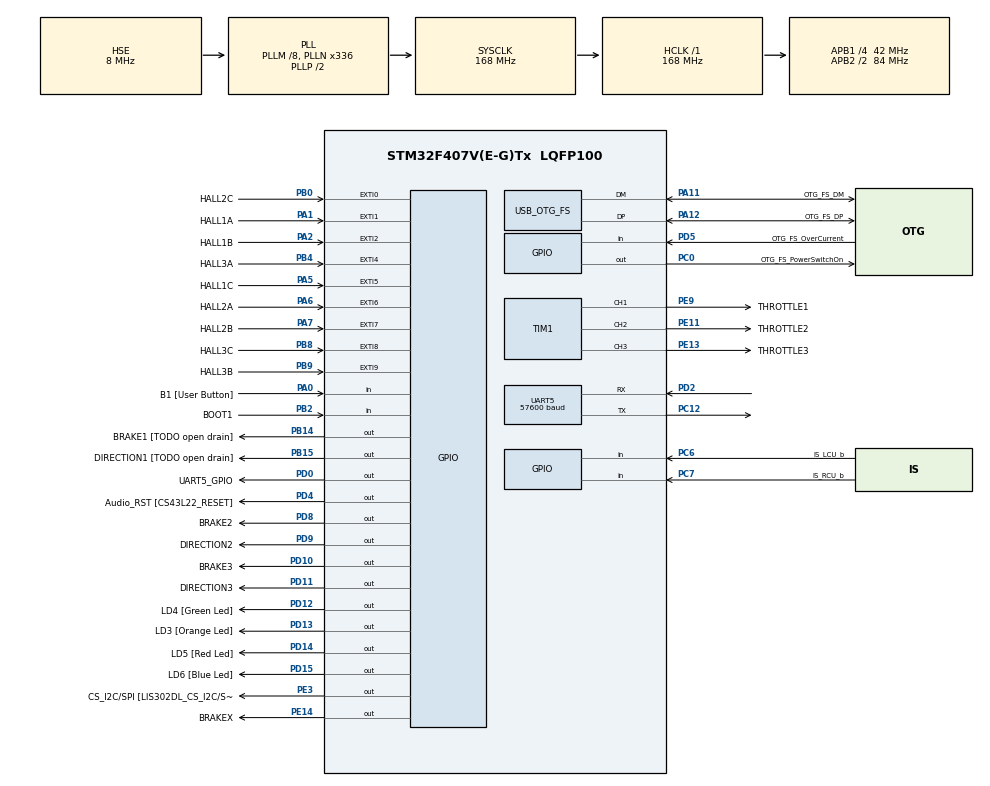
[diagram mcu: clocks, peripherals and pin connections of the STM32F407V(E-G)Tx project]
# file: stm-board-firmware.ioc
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Mcu.Family=STM32F4
Mcu.Name=STM32F407V(E-G)Tx
Mcu.Package=LQFP100
Mcu.UserConstants=THROTTLE_STEPS_FULL_RANGE,(3300*THROTTLE_STEPS/(THROTTLE_MAX_mV-THROTTLE_MIN_mV));THROTTLE_STEPS,1024;THROTTLE_OFF_mV,1000;THROTTLE_MIN_mV,1600;THROTTLE_MAX_mV,3300
NVIC.EXTI1_IRQn=true\:0\:0\:true\:false\:true
NVIC.EXTI2_IRQn=true\:0\:0\:false\:false\:true
NVIC.EXTI9_5_IRQn=true\:0\:0\:false\:false\:true
NVIC.OTG_FS_IRQn=true\:0\:0\:false\:false\:true
NVIC.PriorityGroup=NVIC_PRIORITYGROUP_0
NVIC.UART5_IRQn=true\:0\:0\:false\:false\:true
PA0-WKUP.GPIO_Label=B1 [User Button]
PA0-WKUP.Signal=GPIO_Input
PA1.GPIO_Label=HALL1A
PA1.GPIO_ModeDefaultEXTI=GPIO_MODE_IT_RISING_FALLING
PA1.GPIO_PuPd=GPIO_PULLUP
PA1.Signal=GPXTI1
PA10.GPIO_Label=OTG_FS_ID
PA10.GPIO_Mode=GPIO_MODE_AF_PP
PA10.GPIO_PuPd=GPIO_NOPULL
PA10.GPIO_Speed=GPIO_SPEED_FREQ_LOW
PA10.Signal=USB_OTG_FS_ID
PA11.GPIO_Label=OTG_FS_DM
PA11.GPIO_Mode=GPIO_MODE_AF_PP
PA11.GPIO_PuPd=GPIO_NOPULL
PA11.GPIO_Speed=GPIO_SPEED_FREQ_LOW
PA11.Mode=Device_Only
PA11.Signal=USB_OTG_FS_DM
PA12.GPIO_Label=OTG_FS_DP
PA12.GPIO_Mode=GPIO_MODE_AF_PP
PA12.GPIO_PuPd=GPIO_NOPULL
PA12.GPIO_Speed=GPIO_SPEED_FREQ_LOW
PA12.Mode=Device_Only
PA12.Signal=USB_OTG_FS_DP
PA13.GPIO_Label=SWDIO
PA13.Mode=Serial_Wire
PA13.Signal=SYS_JTMS-SWDIO
PA14.GPIO_Label=SWCLK
PA14.Mode=Serial_Wire
PA14.Signal=SYS_JTCK-SWCLK
PA2.GPIO_Label=HALL1B
PA2.GPIO_ModeDefaultEXTI=GPIO_MODE_IT_RISING_FALLING
PA2.GPIO_PuPd=GPIO_PULLUP
PA2.Signal=GPXTI2
PA5.GPIO_Label=HALL1C
PA5.GPIO_ModeDefaultEXTI=GPIO_MODE_IT_RISING_FALLING
PA5.GPIO_PuPd=GPIO_PULLUP
PA5.Signal=GPXTI5
PA6.GPIO_Label=HALL2A
PA6.GPIO_ModeDefaultEXTI=GPIO_MODE_IT_RISING_FALLING
PA6.GPIO_PuPd=GPIO_PULLUP
PA6.Signal=GPXTI6
PA7.GPIO_Label=HALL2B
PA7.GPIO_ModeDefaultEXTI=GPIO_MODE_IT_RISING_FALLING
PA7.GPIO_PuPd=GPIO_PULLUP
PA7.Signal=GPXTI7
PA9.GPIO_Label=VBUS_FS
PA9.GPIO_Mode=GPIO_MODE_INPUT
PA9.GPIO_PuPd=GPIO_NOPULL
PA9.Signal=USB_OTG_FS_VBUS
PB0.GPIO_Label=HALL2C
PB0.GPIO_ModeDefaultEXTI=GPIO_MODE_IT_RISING_FALLING
PB0.GPIO_PuPd=GPIO_PULLUP
PB0.Signal=GPXTI0
PB10.GPIO_Label=CLK_IN [MP45DT02_CLK]
PB10.GPIO_Mode=GPIO_MODE_AF_PP
PB10.GPIO_PuPd=GPIO_NOPULL
PB10.GPIO_Speed=GPIO_SPEED_FREQ_LOW
PB10.Signal=I2S2_CK
PB14.GPIO_Label=BRAKE1 [TODO open drain]
PB14.GPIO_ModeDefaultOutputPP=GPIO_MODE_OUTPUT_PP
PB14.GPIO_PuPd=GPIO_PULLUP
PB14.PinState=GPIO_PIN_SET
PB14.Signal=GPIO_Output
PB15.GPIO_Label=DIRECTION1 [TODO open drain]
PB15.GPIO_ModeDefaultOutputPP=GPIO_MODE_OUTPUT_PP
PB15.GPIO_PuPd=GPIO_PULLUP
PB15.PinState=GPIO_PIN_SET
PB15.Signal=GPIO_Output
PB2.GPIO_Label=BOOT1
PB2.GPIO_Mode=GPIO_MODE_INPUT
PB2.GPIO_PuPd=GPIO_NOPULL
PB2.Signal=GPIO_Input
PB3.GPIO_Label=SWO
PB3.Signal=SYS_JTDO-SWO
PB4.GPIO_Label=HALL3A
PB4.GPIO_ModeDefaultEXTI=GPIO_MODE_IT_RISING_FALLING
PB4.GPIO_PuPd=GPIO_PULLUP
PB4.Signal=GPXTI4
PB8.GPIO_Label=HALL3C
PB8.GPIO_ModeDefaultEXTI=GPIO_MODE_IT_RISING_FALLING
PB8.GPIO_PuPd=GPIO_PULLUP
PB8.Signal=GPXTI8
PB9.GPIO_Label=HALL3B
PB9.GPIO_ModeDefaultEXTI=GPIO_MODE_IT_RISING_FALLING
PB9.GPIO_PuPd=GPIO_PULLUP
PB9.Signal=GPXTI9
PC0.GPIO_Label=OTG_FS_PowerSwitchOn
PC0.GPIO_PuPd=GPIO_NOPULL
PC0.GPIO_Speed=GPIO_SPEED_FREQ_LOW
PC0.PinState=GPIO_PIN_SET
PC0.Signal=GPIO_Output
PC12.Mode=Asynchronous
PC12.Signal=UART5_TX
PC14-OSC32_IN.GPIO_Label=PC14-OSC32_IN
PC14-OSC32_IN.Mode=LSE-External-Oscillator
PC14-OSC32_IN.Signal=RCC_OSC32_IN
PC15-OSC32_OUT.GPIO_Label=PC15-OSC32_OUT
PC15-OSC32_OUT.Mode=LSE-External-Oscillator
PC15-OSC32_OUT.Signal=RCC_OSC32_OUT
PC3.GPIO_Label=PDM_OUT [MP45DT02_DOUT]
PC3.GPIO_Mode=GPIO_MODE_AF_PP
PC3.GPIO_PuPd=GPIO_NOPULL
PC3.GPIO_Speed=GPIO_SPEED_FREQ_LOW
PC3.Signal=I2S2_SD
PC6.GPIO_Label=IS_LCU_b
PC6.GPIO_PuPd=GPIO_PULLUP
PC6.Signal=GPIO_Input
PC7.GPIO_Label=IS_RCU_b
PC7.GPIO_PuPd=GPIO_PULLUP
PC7.Signal=GPIO_Input
PD0.GPIO_Label=UART5_GPIO
PD0.GPIO_PuPd=GPIO_PULLDOWN
PD0.GPIO_Speed=GPIO_SPEED_FREQ_VERY_HIGH
PD0.Signal=GPIO_Output
PD10.GPIO_Label=BRAKE3
PD10.GPIO_PuPd=GPIO_PULLUP
PD10.PinState=GPIO_PIN_SET
PD10.Signal=GPIO_Output
PD11.GPIO_Label=DIRECTION3
PD11.GPIO_PuPd=GPIO_PULLUP
PD11.PinState=GPIO_PIN_SET
PD11.Signal=GPIO_Output
PD12.GPIO_Label=LD4 [Green Led]
PD12.GPIO_PuPd=GPIO_NOPULL
PD12.GPIO_Speed=GPIO_SPEED_FREQ_LOW
PD12.Signal=GPIO_Output
PD13.GPIO_Label=LD3 [Orange Led]
PD13.GPIO_PuPd=GPIO_NOPULL
PD13.GPIO_Speed=GPIO_SPEED_FREQ_LOW
PD13.Signal=GPIO_Output
PD14.GPIO_Label=LD5 [Red Led]
PD14.GPIO_PuPd=GPIO_NOPULL
PD14.GPIO_Speed=GPIO_SPEED_FREQ_LOW
PD14.Signal=GPIO_Output
PD15.GPIO_Label=LD6 [Blue Led]
PD15.GPIO_PuPd=GPIO_NOPULL
PD15.GPIO_Speed=GPIO_SPEED_FREQ_LOW
PD15.Signal=GPIO_Output
PD2.Mode=Asynchronous
PD2.Signal=UART5_RX
PD4.GPIO_Label=Audio_RST [CS43L22_RESET]
PD4.GPIO_PuPd=GPIO_PULLDOWN
PD4.GPIO_Speed=GPIO_SPEED_FREQ_LOW
PD4.Signal=GPIO_Output
PD5.GPIO_Label=OTG_FS_OverCurrent
PD5.GPIO_Mode=GPIO_MODE_INPUT
PD5.GPIO_PuPd=GPIO_NOPULL
PD5.Signal=GPIO_Input
PD8.GPIO_Label=BRAKE2
PD8.GPIO_PuPd=GPIO_PULLUP
PD8.PinState=GPIO_PIN_SET
PD8.Signal=GPIO_Output
PD9.GPIO_Label=DIRECTION2
PD9.GPIO_PuPd=GPIO_PULLUP
PD9.PinState=GPIO_PIN_SET
PD9.Signal=GPIO_Output
PE11.GPIO_Label=THROTTLE2
PE11.Signal=S_TIM1_CH2
PE13.GPIO_Label=THROTTLE3
PE13.Signal=S_TIM1_CH3
PE14.GPIO_Label=BRAKEX
PE14.GPIO_PuPd=GPIO_PULLUP
PE14.PinState=GPIO_PIN_SET
PE14.Signal=GPIO_Output
PE3.GPIO_Label=CS_I2C/SPI [LIS302DL_CS_I2C/SPI]
PE3.GPIO_PuPd=GPIO_PULLDOWN
PE3.GPIO_Speed=GPIO_SPEED_FREQ_LOW
PE3.PinState=GPIO_PIN_SET
PE3.Signal=GPIO_Output
PE9.GPIO_Label=THROTTLE1
PE9.Signal=S_TIM1_CH1
PH0-OSC_IN.GPIO_Label=PH0-OSC_IN
PH0-OSC_IN.Mode=HSE-External-Oscillator
PH0-OSC_IN.Signal=RCC_OSC_IN
PH1-OSC_OUT.GPIO_Label=PH1-OSC_OUT
PH1-OSC_OUT.Mode=HSE-External-Oscillator
PH1-OSC_OUT.Signal=RCC_OSC_OUT
ProjectManager.HeapSize=0x200
ProjectManager.StackSize=0x400
ProjectManager.TargetToolchain=SW4STM32
RCC.48MHZClocksFreq_Value=48000000
RCC.AHBFreq_Value=168000000
RCC.APB1CLKDivider=RCC_HCLK_DIV4
RCC.APB1Freq_Value=42000000
RCC.APB1TimFreq_Value=84000000
RCC.APB2CLKDivider=RCC_HCLK_DIV2
RCC.APB2Freq_Value=84000000
RCC.APB2TimFreq_Value=168000000
RCC.ClockTypeHCLK=RCC_CLOCKTYPE_HCLK
RCC.ClockTypePCLK1=RCC_CLOCKTYPE_PCLK1
RCC.ClockTypePCLK2=RCC_CLOCKTYPE_PCLK2
RCC.ClockTypeSysClk=RCC_CLOCKTYPE_SYSCLK
RCC.CortexFreq_Value=168000000
RCC.EnableExtClockForI2S=false
RCC.EnableHSE=true
RCC.EnableHSERTCDevisor=false
RCC.EnableLSE=true
RCC.EnableLSERTC=false
RCC.ExtClockEnable=false
RCC.HCLKFreq_Value=168000000
RCC.HSEState=RCC_HSE_ON
RCC.HSE_VALUE=8000000
RCC.HSIState=RCC_HSI_OFF
RCC.HSI_VALUE=16000000
RCC.I2SEnable=false
RCC.IWDGEnable=false
RCC.LSEState=RCC_LSE_ON
RCC.LSIState=RCC_LSI_OFF
RCC.MCO1OutPutEnable=false
RCC.MCO2OutPutEnable=false
RCC.OscillatorTypeHSE=RCC_OSCILLATORTYPE_HSE
RCC.PLLM=8
RCC.PLLN=336
RCC.PLLQ=7
RCC.PLLSource=RCC_PLLSOURCE_HSE
RCC.PLLSourceVirtual=RCC_PLLSOURCE_HSE
RCC.PLLState=RCC_PLL_ON
RCC.RCC_PERIPHCLK_I2SVar=RCC_PERIPHCLK_I2S
RCC.RNGEnable=false
RCC.RTCEnable=false
RCC.SDIOEnable=false
RCC.SYSCLKFreq_VALUE=168000000
RCC.SYSCLKSource=RCC_SYSCLKSOURCE_PLLCLK
RCC.USBFSEnable=true
RCC.USBHSEnable=false
RCC.VCOOutputFreq_Value=336000000
SH.S_TIM1_CH1.0=TIM1_CH1,PWM Generation1 CH1
SH.S_TIM1_CH2.0=TIM1_CH2,PWM Generation2 CH2
SH.S_TIM1_CH3.0=TIM1_CH3,PWM Generation3 CH3
TIM1.Channel-PWM\ Generation1\ CH1=TIM_CHANNEL_1
TIM1.Channel-PWM\ Generation2\ CH2=TIM_CHANNEL_2
TIM1.Channel-PWM\ Generation3\ CH3=TIM_CHANNEL_3
TIM1.OCNIdleState_1=TIM_OCNIDLESTATE_RESET
TIM1.OCNIdleState_2=TIM_OCNIDLESTATE_RESET
TIM1.OCNIdleState_3=TIM_OCNIDLESTATE_RESET
TIM1.OCNPolarity_1=TIM_OCNPOLARITY_HIGH
TIM1.OCNPolarity_2=TIM_OCNPOLARITY_HIGH
TIM1.OCNPolarity_3=TIM_OCNPOLARITY_HIGH
TIM1.Period=THROTTLE_STEPS_FULL_RANGE-1
UART5.BaudRate=57600
UART5.VirtualMode=Asynchronous
USB_DEVICE.CLASS_NAME_FS=CDC
USB_DEVICE.USBD_HandleTypeDef_FS=hUsbDevice_OTG_FS
USB_DEVICE.USBD_MAX_STR_DESC_SIZ-CDC_FS=256
USB_DEVICE.VirtualModeFS=Cdc_FS
USB_OTG_FS.VirtualMode=Device_Only
USB_OTG_FS.phy_itface=PCD_PHY_EMBEDDED
VP_TIM1_VS_ClockSourceINT.Mode=Internal
VP_USB_DEVICE_VS_USB_DEVICE_CDC_FS.Mode=CDC_FS
board=STM32F4DISCOVERY

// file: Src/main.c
/**
  ******************************************************************************
  * File Name          : main.c
  * Description        : Main program body
  ******************************************************************************
  *
  * Copyright (c) 2017 STMicroelectronics International N.V.
  * All rights reserved.
  *
  * Redistribution and use in source and binary forms, with or without
  * modification, are permitted, provided that the following conditions are met:
  *
  * 1. Redistribution of source code must retain the above copyright notice,
  *    this list of conditions and the following disclaimer.
  * 2. Redistributions in binary form must reproduce the above copyright notice,
  *    this list of conditions and the following disclaimer in the documentation
  *    and/or other materials provided with the distribution.
  * 3. Neither the name of STMicroelectronics nor the names of other
  *    contributors to this software may be used to endorse or promote products
  *    derived from this software without specific written permission.
  * 4. This software, including modifications and/or derivative works of this
  *    software, must execute solely and exclusively on microcontroller or
  *    microprocessor devices manufactured by or for STMicroelectronics.
  * 5. Redistribution and use of this software other than as permitted under
  *    this license is void and will automatically terminate your rights under
  *    this license.
  *
  * THIS SOFTWARE IS PROVIDED BY STMICROELECTRONICS AND CONTRIBUTORS "AS IS"
  * AND ANY EXPRESS, IMPLIED OR STATUTORY WARRANTIES, INCLUDING, BUT NOT
  * LIMITED TO, THE IMPLIED WARRANTIES OF MERCHANTABILITY, FITNESS FOR A
  * PARTICULAR PURPOSE AND NON-INFRINGEMENT OF THIRD PARTY INTELLECTUAL PROPERTY
  * RIGHTS ARE DISCLAIMED TO THE FULLEST EXTENT PERMITTED BY LAW. IN NO EVENT
  * SHALL STMICROELECTRONICS OR CONTRIBUTORS BE LIABLE FOR ANY DIRECT, INDIRECT,
  * INCIDENTAL, SPECIAL, EXEMPLARY, OR CONSEQUENTIAL DAMAGES (INCLUDING, BUT NOT
  * LIMITED TO, PROCUREMENT OF SUBSTITUTE GOODS OR SERVICES; LOSS OF USE, DATA,
  * OR PROFITS; OR BUSINESS INTERRUPTION) HOWEVER CAUSED AND ON ANY THEORY OF
  * LIABILITY, WHETHER IN CONTRACT, STRICT LIABILITY, OR TORT (INCLUDING
  * NEGLIGENCE OR OTHERWISE) ARISING IN ANY WAY OUT OF THE USE OF THIS SOFTWARE,
  * EVEN IF ADVISED OF THE POSSIBILITY OF SUCH DAMAGE.
  *
  ******************************************************************************
  */
#include "main.h"
#include "stm32f4xx_hal.h"
#include "usb_device.h"

/* USER CODE BEGIN Includes */
#include "events.h"
#include "usbd_cdc_if.h"

/* USER CODE END Includes */

TIM_HandleTypeDef htim1;

UART_HandleTypeDef huart5;

/* USER CODE BEGIN PV */
/* Private variables ---------------------------------------------------------*/

/* USER CODE END PV */

void SystemClock_Config(void);
void Error_Handler(void);
static void MX_GPIO_Init(void);
static void MX_TIM1_Init(void);
static void MX_UART5_Init(void);
void HAL_TIM_MspPostInit(TIM_HandleTypeDef *htim);

/* USER CODE BEGIN PFP */
/* Private function prototypes -----------------------------------------------*/

/* USER CODE END PFP */

int main(void)
{

  /* MCU Configuration----------------------------------------------------------*/

  /* Reset of all peripherals, Initializes the Flash interface and the Systick. */
  HAL_Init();

  /* Configure the system clock */
  SystemClock_Config();

  /* Initialize all configured peripherals */
  MX_GPIO_Init();
  MX_TIM1_Init();
  MX_UART5_Init();
  MX_USB_DEVICE_Init();

  /* USER CODE BEGIN 2 */
  HAL_GPIO_WritePin(LD4_GPIO_Port, LD4_Pin, GPIO_PIN_SET); // Green on -> init complete
  OnStartup();
  HAL_Delay(1000);

  // Motor configuration based on whether we're LCU or RCU
  static struct CommandHandlerConfiguration rcu_config = {{{1, +0.4, -0.33}, {0, +0.4, 0.0}, {0, +0.4, +0.33}}};
  static struct CommandHandlerConfiguration lcu_config = {{{1, -0.4, -0.33}, {1, -0.4, 0.0}, {0, -0.4, +0.33}}};
  int is_rcu = HAL_GPIO_ReadPin(IS_RCU_b_GPIO_Port, IS_RCU_b_Pin) == GPIO_PIN_RESET;
  int is_lcu = HAL_GPIO_ReadPin(IS_LCU_b_GPIO_Port, IS_LCU_b_Pin) == GPIO_PIN_RESET;
  if (is_rcu == is_lcu) {
	  HAL_GPIO_WritePin(LD4_GPIO_Port, LD4_Pin, GPIO_PIN_RESET); // Green off -> VCU id failed
	  for(;;);
  }
  OnInitialization(is_rcu ? &rcu_config : &lcu_config);
  uint16_t flash_code = is_rcu ? 0x00FF : 0x033F;

  /* USER CODE END 2 */

  /* Infinite loop */
  while (1)
  {

  /* USER CODE BEGIN 3 */

	  // Execute this loop at ~30 Hz
	  uint32_t delay_ms = 33;
	  uint32_t tickstart = HAL_GetTick();

	  // Indicate if USB up -- orange == usb connected, and not transmitting
	  extern volatile int cdc_usb_initialized;
	  HAL_GPIO_WritePin(LD3_GPIO_Port, LD3_Pin, cdc_usb_initialized ? GPIO_PIN_SET : GPIO_PIN_RESET);

	  // Process pending command, if any
	  OnMainLoop();

	  // Flash the green LED at ~3 Hz; green LED flashing == main is running
	  HAL_GPIO_WritePin(LD4_GPIO_Port, LD4_Pin, flash_code & 1 ? GPIO_PIN_SET : GPIO_PIN_RESET);
	  flash_code = (flash_code << 1) | (flash_code >> (8 * sizeof(flash_code) - 1));

	  // Execute this loop at ~30 Hz
	  while (HAL_GetTick() - tickstart < delay_ms) {}
  }
  /* USER CODE END 3 */

}

/** System Clock Configuration
*/
void SystemClock_Config(void)
{

  RCC_OscInitTypeDef RCC_OscInitStruct;
  RCC_ClkInitTypeDef RCC_ClkInitStruct;

    /**Configure the main internal regulator output voltage
    */
  __HAL_RCC_PWR_CLK_ENABLE();

  __HAL_PWR_VOLTAGESCALING_CONFIG(PWR_REGULATOR_VOLTAGE_SCALE1);

    /**Initializes the CPU, AHB and APB busses clocks
    */
  RCC_OscInitStruct.OscillatorType = RCC_OSCILLATORTYPE_HSE;
  RCC_OscInitStruct.HSEState = RCC_HSE_ON;
  RCC_OscInitStruct.PLL.PLLState = RCC_PLL_ON;
  RCC_OscInitStruct.PLL.PLLSource = RCC_PLLSOURCE_HSE;
  RCC_OscInitStruct.PLL.PLLM = 8;
  RCC_OscInitStruct.PLL.PLLN = 336;
  RCC_OscInitStruct.PLL.PLLP = RCC_PLLP_DIV2;
  RCC_OscInitStruct.PLL.PLLQ = 7;
  if (HAL_RCC_OscConfig(&RCC_OscInitStruct) != HAL_OK)
  {
    Error_Handler();
  }

    /**Initializes the CPU, AHB and APB busses clocks
    */
  RCC_ClkInitStruct.ClockType = RCC_CLOCKTYPE_HCLK|RCC_CLOCKTYPE_SYSCLK
                              |RCC_CLOCKTYPE_PCLK1|RCC_CLOCKTYPE_PCLK2;
  RCC_ClkInitStruct.SYSCLKSource = RCC_SYSCLKSOURCE_PLLCLK;
  RCC_ClkInitStruct.AHBCLKDivider = RCC_SYSCLK_DIV1;
  RCC_ClkInitStruct.APB1CLKDivider = RCC_HCLK_DIV4;
  RCC_ClkInitStruct.APB2CLKDivider = RCC_HCLK_DIV2;

  if (HAL_RCC_ClockConfig(&RCC_ClkInitStruct, FLASH_LATENCY_5) != HAL_OK)
  {
    Error_Handler();
  }

    /**Configure the Systick interrupt time
    */
  HAL_SYSTICK_Config(HAL_RCC_GetHCLKFreq()/1000);

    /**Configure the Systick
    */
  HAL_SYSTICK_CLKSourceConfig(SYSTICK_CLKSOURCE_HCLK);

  /* SysTick_IRQn interrupt configuration */
  HAL_NVIC_SetPriority(SysTick_IRQn, 0, 0);
}

/* TIM1 init function */
static void MX_TIM1_Init(void)
{

  TIM_ClockConfigTypeDef sClockSourceConfig;
  TIM_MasterConfigTypeDef sMasterConfig;
  TIM_OC_InitTypeDef sConfigOC;
  TIM_BreakDeadTimeConfigTypeDef sBreakDeadTimeConfig;

  htim1.Instance = TIM1;
  htim1.Init.Prescaler = 0;
  htim1.Init.CounterMode = TIM_COUNTERMODE_UP;
  htim1.Init.Period = THROTTLE_STEPS_FULL_RANGE-1;
  htim1.Init.ClockDivision = TIM_CLOCKDIVISION_DIV1;
  htim1.Init.RepetitionCounter = 0;
  if (HAL_TIM_Base_Init(&htim1) != HAL_OK)
  {
    Error_Handler();
  }

  sClockSourceConfig.ClockSource = TIM_CLOCKSOURCE_INTERNAL;
  if (HAL_TIM_ConfigClockSource(&htim1, &sClockSourceConfig) != HAL_OK)
  {
    Error_Handler();
  }

  if (HAL_TIM_PWM_Init(&htim1) != HAL_OK)
  {
    Error_Handler();
  }

  sMasterConfig.MasterOutputTrigger = TIM_TRGO_RESET;
  sMasterConfig.MasterSlaveMode = TIM_MASTERSLAVEMODE_DISABLE;
  if (HAL_TIMEx_MasterConfigSynchronization(&htim1, &sMasterConfig) != HAL_OK)
  {
    Error_Handler();
  }

  sConfigOC.OCMode = TIM_OCMODE_PWM1;
  sConfigOC.Pulse = 0;
  sConfigOC.OCPolarity = TIM_OCPOLARITY_HIGH;
  sConfigOC.OCNPolarity = TIM_OCNPOLARITY_HIGH;
  sConfigOC.OCFastMode = TIM_OCFAST_DISABLE;
  sConfigOC.OCIdleState = TIM_OCIDLESTATE_RESET;
  sConfigOC.OCNIdleState = TIM_OCNIDLESTATE_RESET;
  if (HAL_TIM_PWM_ConfigChannel(&htim1, &sConfigOC, TIM_CHANNEL_1) != HAL_OK)
  {
    Error_Handler();
  }

  if (HAL_TIM_PWM_ConfigChannel(&htim1, &sConfigOC, TIM_CHANNEL_2) != HAL_OK)
  {
    Error_Handler();
  }

  if (HAL_TIM_PWM_ConfigChannel(&htim1, &sConfigOC, TIM_CHANNEL_3) != HAL_OK)
  {
    Error_Handler();
  }

  sBreakDeadTimeConfig.OffStateRunMode = TIM_OSSR_DISABLE;
  sBreakDeadTimeConfig.OffStateIDLEMode = TIM_OSSI_DISABLE;
  sBreakDeadTimeConfig.LockLevel = TIM_LOCKLEVEL_OFF;
  sBreakDeadTimeConfig.DeadTime = 0;
  sBreakDeadTimeConfig.BreakState = TIM_BREAK_DISABLE;
  sBreakDeadTimeConfig.BreakPolarity = TIM_BREAKPOLARITY_HIGH;
  sBreakDeadTimeConfig.AutomaticOutput = TIM_AUTOMATICOUTPUT_DISABLE;
  if (HAL_TIMEx_ConfigBreakDeadTime(&htim1, &sBreakDeadTimeConfig) != HAL_OK)
  {
    Error_Handler();
  }

  HAL_TIM_MspPostInit(&htim1);

}

/* UART5 init function */
static void MX_UART5_Init(void)
{

  huart5.Instance = UART5;
  huart5.Init.BaudRate = 57600;
  huart5.Init.WordLength = UART_WORDLENGTH_8B;
  huart5.Init.StopBits = UART_STOPBITS_1;
  huart5.Init.Parity = UART_PARITY_NONE;
  huart5.Init.Mode = UART_MODE_TX_RX;
  huart5.Init.HwFlowCtl = UART_HWCONTROL_NONE;
  huart5.Init.OverSampling = UART_OVERSAMPLING_16;
  if (HAL_UART_Init(&huart5) != HAL_OK)
  {
    Error_Handler();
  }

}

/** Configure pins as
        * Analog
        * Input
        * Output
        * EVENT_OUT
        * EXTI
     PC3   ------> I2S2_SD
     PB10   ------> I2S2_CK
*/
static void MX_GPIO_Init(void)
{

  GPIO_InitTypeDef GPIO_InitStruct;

  /* GPIO Ports Clock Enable */
  __HAL_RCC_GPIOE_CLK_ENABLE();
  __HAL_RCC_GPIOC_CLK_ENABLE();
  __HAL_RCC_GPIOH_CLK_ENABLE();
  __HAL_RCC_GPIOA_CLK_ENABLE();
  __HAL_RCC_GPIOB_CLK_ENABLE();
  __HAL_RCC_GPIOD_CLK_ENABLE();

  /*Configure GPIO pin Output Level */
  HAL_GPIO_WritePin(GPIOE, CS_I2C_SPI_Pin|BRAKEX_Pin, GPIO_PIN_SET);

  /*Configure GPIO pin Output Level */
  HAL_GPIO_WritePin(OTG_FS_PowerSwitchOn_GPIO_Port, OTG_FS_PowerSwitchOn_Pin, GPIO_PIN_SET);

  /*Configure GPIO pin Output Level */
  HAL_GPIO_WritePin(GPIOB, BRAKE1_Pin|DIRECTION1_Pin, GPIO_PIN_SET);

  /*Configure GPIO pin Output Level */
  HAL_GPIO_WritePin(GPIOD, BRAKE2_Pin|DIRECTION2_Pin|BRAKE3_Pin|DIRECTION3_Pin, GPIO_PIN_SET);

  /*Configure GPIO pin Output Level */
  HAL_GPIO_WritePin(GPIOD, LD4_Pin|LD3_Pin|LD5_Pin|LD6_Pin
                          |UART5_GPIO_Pin|Audio_RST_Pin, GPIO_PIN_RESET);

  /*Configure GPIO pin : CS_I2C_SPI_Pin */
  GPIO_InitStruct.Pin = CS_I2C_SPI_Pin;
  GPIO_InitStruct.Mode = GPIO_MODE_OUTPUT_PP;
  GPIO_InitStruct.Pull = GPIO_PULLDOWN;
  GPIO_InitStruct.Speed = GPIO_SPEED_FREQ_LOW;
  HAL_GPIO_Init(CS_I2C_SPI_GPIO_Port, &GPIO_InitStruct);

  /*Configure GPIO pin : OTG_FS_PowerSwitchOn_Pin */
  GPIO_InitStruct.Pin = OTG_FS_PowerSwitchOn_Pin;
  GPIO_InitStruct.Mode = GPIO_MODE_OUTPUT_PP;
  GPIO_InitStruct.Pull = GPIO_NOPULL;
  GPIO_InitStruct.Speed = GPIO_SPEED_FREQ_LOW;
  HAL_GPIO_Init(OTG_FS_PowerSwitchOn_GPIO_Port, &GPIO_InitStruct);

  /*Configure GPIO pin : PDM_OUT_Pin */
  GPIO_InitStruct.Pin = PDM_OUT_Pin;
  GPIO_InitStruct.Mode = GPIO_MODE_AF_PP;
  GPIO_InitStruct.Pull = GPIO_NOPULL;
  GPIO_InitStruct.Speed = GPIO_SPEED_FREQ_LOW;
  GPIO_InitStruct.Alternate = GPIO_AF5_SPI2;
  HAL_GPIO_Init(PDM_OUT_GPIO_Port, &GPIO_InitStruct);

  /*Configure GPIO pin : B1_Pin */
  GPIO_InitStruct.Pin = B1_Pin;
  GPIO_InitStruct.Mode = GPIO_MODE_INPUT;
  GPIO_InitStruct.Pull = GPIO_NOPULL;
  HAL_GPIO_Init(B1_GPIO_Port, &GPIO_InitStruct);

  /*Configure GPIO pins : HALL1A_Pin HALL1B_Pin HALL1C_Pin HALL2A_Pin
                           HALL2B_Pin */
  GPIO_InitStruct.Pin = HALL1A_Pin|HALL1B_Pin|HALL1C_Pin|HALL2A_Pin
                          |HALL2B_Pin;
  GPIO_InitStruct.Mode = GPIO_MODE_IT_RISING_FALLING;
  GPIO_InitStruct.Pull = GPIO_PULLUP;
  HAL_GPIO_Init(GPIOA, &GPIO_InitStruct);

  /*Configure GPIO pins : HALL2C_Pin HALL3A_Pin HALL3C_Pin HALL3B_Pin */
  GPIO_InitStruct.Pin = HALL2C_Pin|HALL3A_Pin|HALL3C_Pin|HALL3B_Pin;
  GPIO_InitStruct.Mode = GPIO_MODE_IT_RISING_FALLING;
  GPIO_InitStruct.Pull = GPIO_PULLUP;
  HAL_GPIO_Init(GPIOB, &GPIO_InitStruct);

  /*Configure GPIO pin : BOOT1_Pin */
  GPIO_InitStruct.Pin = BOOT1_Pin;
  GPIO_InitStruct.Mode = GPIO_MODE_INPUT;
  GPIO_InitStruct.Pull = GPIO_NOPULL;
  HAL_GPIO_Init(BOOT1_GPIO_Port, &GPIO_InitStruct);

  /*Configure GPIO pin : BRAKEX_Pin */
  GPIO_InitStruct.Pin = BRAKEX_Pin;
  GPIO_InitStruct.Mode = GPIO_MODE_OUTPUT_PP;
  GPIO_InitStruct.Pull = GPIO_PULLUP;
  GPIO_InitStruct.Speed = GPIO_SPEED_FREQ_LOW;
  HAL_GPIO_Init(BRAKEX_GPIO_Port, &GPIO_InitStruct);

  /*Configure GPIO pin : CLK_IN_Pin */
  GPIO_InitStruct.Pin = CLK_IN_Pin;
  GPIO_InitStruct.Mode = GPIO_MODE_AF_PP;
  GPIO_InitStruct.Pull = GPIO_NOPULL;
  GPIO_InitStruct.Speed = GPIO_SPEED_FREQ_LOW;
  GPIO_InitStruct.Alternate = GPIO_AF5_SPI2;
  HAL_GPIO_Init(CLK_IN_GPIO_Port, &GPIO_InitStruct);

  /*Configure GPIO pins : BRAKE1_Pin DIRECTION1_Pin */
  GPIO_InitStruct.Pin = BRAKE1_Pin|DIRECTION1_Pin;
  GPIO_InitStruct.Mode = GPIO_MODE_OUTPUT_PP;
  GPIO_InitStruct.Pull = GPIO_PULLUP;
  GPIO_InitStruct.Speed = GPIO_SPEED_FREQ_LOW;
  HAL_GPIO_Init(GPIOB, &GPIO_InitStruct);

  /*Configure GPIO pins : BRAKE2_Pin DIRECTION2_Pin BRAKE3_Pin DIRECTION3_Pin */
  GPIO_InitStruct.Pin = BRAKE2_Pin|DIRECTION2_Pin|BRAKE3_Pin|DIRECTION3_Pin;
  GPIO_InitStruct.Mode = GPIO_MODE_OUTPUT_PP;
  GPIO_InitStruct.Pull = GPIO_PULLUP;
  GPIO_InitStruct.Speed = GPIO_SPEED_FREQ_LOW;
  HAL_GPIO_Init(GPIOD, &GPIO_InitStruct);

  /*Configure GPIO pins : LD4_Pin LD3_Pin LD5_Pin LD6_Pin */
  GPIO_InitStruct.Pin = LD4_Pin|LD3_Pin|LD5_Pin|LD6_Pin;
  GPIO_InitStruct.Mode = GPIO_MODE_OUTPUT_PP;
  GPIO_InitStruct.Pull = GPIO_NOPULL;
  GPIO_InitStruct.Speed = GPIO_SPEED_FREQ_LOW;
  HAL_GPIO_Init(GPIOD, &GPIO_InitStruct);

  /*Configure GPIO pins : IS_LCU_b_Pin IS_RCU_b_Pin */
  GPIO_InitStruct.Pin = IS_LCU_b_Pin|IS_RCU_b_Pin;
  GPIO_InitStruct.Mode = GPIO_MODE_INPUT;
  GPIO_InitStruct.Pull = GPIO_PULLUP;
  HAL_GPIO_Init(GPIOC, &GPIO_InitStruct);

  /*Configure GPIO pin : UART5_GPIO_Pin */
  GPIO_InitStruct.Pin = UART5_GPIO_Pin;
  GPIO_InitStruct.Mode = GPIO_MODE_OUTPUT_PP;
  GPIO_InitStruct.Pull = GPIO_PULLDOWN;
  GPIO_InitStruct.Speed = GPIO_SPEED_FREQ_VERY_HIGH;
  HAL_GPIO_Init(UART5_GPIO_GPIO_Port, &GPIO_InitStruct);

  /*Configure GPIO pin : Audio_RST_Pin */
  GPIO_InitStruct.Pin = Audio_RST_Pin;
  GPIO_InitStruct.Mode = GPIO_MODE_OUTPUT_PP;
  GPIO_InitStruct.Pull = GPIO_PULLDOWN;
  GPIO_InitStruct.Speed = GPIO_SPEED_FREQ_LOW;
  HAL_GPIO_Init(Audio_RST_GPIO_Port, &GPIO_InitStruct);

  /*Configure GPIO pin : OTG_FS_OverCurrent_Pin */
  GPIO_InitStruct.Pin = OTG_FS_OverCurrent_Pin;
  GPIO_InitStruct.Mode = GPIO_MODE_INPUT;
  GPIO_InitStruct.Pull = GPIO_NOPULL;
  HAL_GPIO_Init(OTG_FS_OverCurrent_GPIO_Port, &GPIO_InitStruct);

  /* EXTI interrupt init*/
  HAL_NVIC_SetPriority(EXTI1_IRQn, 0, 0);
  HAL_NVIC_EnableIRQ(EXTI1_IRQn);

  HAL_NVIC_SetPriority(EXTI2_IRQn, 0, 0);
  HAL_NVIC_EnableIRQ(EXTI2_IRQn);

  HAL_NVIC_SetPriority(EXTI9_5_IRQn, 0, 0);
  HAL_NVIC_EnableIRQ(EXTI9_5_IRQn);

}

/* USER CODE BEGIN 4 */

void HAL_GPIO_EXTI_Callback(uint16_t GPIO_Pin) {
	  OnHallSensorTransitionInterrupt();
}

/* USER CODE END 4 */

void Error_Handler(void)
{
  while(1)
  {
  }
}

/************************ (C) COPYRIGHT STMicroelectronics *****END OF FILE****/
